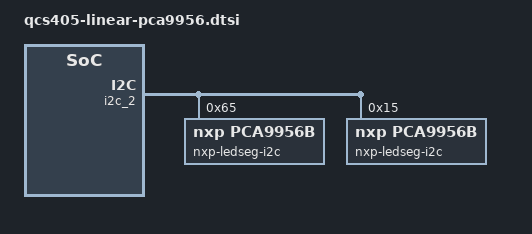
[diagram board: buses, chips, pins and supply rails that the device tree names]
/*
 * Copyright (c) 2018-2019, The Linux Foundation. All rights reserved.
 *
 * This program is free software; you can redistribute it and/or modify
 * it under the terms of the GNU General Public License version 2 and
 * only version 2 as published by the Free Software Foundation.
 *
 * This program is distributed in the hope that it will be useful,
 * but WITHOUT ANY WARRANTY; without even the implied warranty of
 * MERCHANTABILITY or FITNESS FOR A PARTICULAR PURPOSE.  See the
 * GNU General Public License for more details.
 */

&va_macro {
	qcom,va-dmic-sample-rate = <2400000>;
};

&i2c_2 {
	status = "ok";
	qcom,clk-freq-out = <100000>;

	/* PCA9956B LED Drivers */
	nxp-ledseg-i2c@65 {
		#address-cells = <1>;
		#size-cells = <0>;
		compatible = "nxp,pca9956b";
		reg = <0x65>;
		pca9956b,support_initialize = <1>;
		pca9956b,mode1 = <0x09>;
		pca9956b,mode2 = <0x05>;

		pca9956b,ledout0 = <0xAA>;
		pca9956b,ledout1 = <0xAA>;
		pca9956b,ledout2 = <0xAA>;
		pca9956b,ledout3 = <0xFF>;
		pca9956b,ledout4 = <0xFF>;
		pca9956b,ledout5 = <0xFF>;
		pca9956b,defaultiref = <0x2f>;
		out0@0 {
			label = "ledsec5_b";
			reg = <0x0>;
		};
		out1@1 {
			label = "ledsec5_g";
			reg = <0x1>;
		};
		out2@2 {
			label = "ledsec5_r";
			reg = <0x2>;
		};
		out3@3 {
			label = "ledsec6_b";
			reg = <0x3>;
		};
		out4@4 {
			label = "ledsec6_g";
			reg = <0x4>;
		};
		out5@5 {
			label = "ledsec6_r";
			reg = <0x5>;
		};
		out6@6 {
			label = "ledsec7_b";
			reg = <0x6>;
		};
		out7@7 {
			label = "ledsec7_g";
			reg = <0x7>;
		};
		out8@8 {
			label = "ledsec7_r";
			reg = <0x8>;
		};
		out9@9 {
			label = "ledsec8_b";
			reg = <0x9>;
		};
		out10@10 {
			label = "ledsec8_g";
			reg = <0xA>;
		};
		out11@11 {
			label = "ledsec8_r";
			reg = <0xB>;
		};
		out12@12 {
			label = "ledsec1_b";
			reg = <0xC>;
		};
		out13@13 {
			label = "ledsec1_g";
			reg = <0xD>;
		};
		out14@14 {
			label = "ledsec1_r";
			reg = <0xE>;
		};
		out15@15 {
			label = "ledsec2_b";
			reg = <0xF>;
		};
		out16@16 {
			label = "ledsec2_g";
			reg = <0x10>;
		};
		out17@17 {
			label = "ledsec2_r";
			reg = <0x11>;
		};
		out18@18 {
			label = "ledsec3_b";
			reg = <0x12>;
		};
		out19@19 {
			label = "ledsec3_g";
			reg = <0x13>;
		};
		out20@20 {
			label = "ledsec3_r";
			reg = <0x14>;
		};
		out21@21 {
			label = "ledsec4_b";
			reg = <0x15>;
		};
		out22@22 {
			label = "ledsec4_g";
			reg = <0x16>;
		};
		out23@23 {
			label = "ledsec4_r";
			reg = <0x17>;
		};
	};

	nxp-ledseg-i2c@15 {
		#address-cells = <1>;
		#size-cells = <0>;
		compatible = "nxp,pca9956b";
		reg = <0x15>;
		pca9956b,support_initialize = <1>;
		pca9956b,mode1 = <0x09>;
		pca9956b,mode2 = <0x05>;

		pca9956b,ledout0 = <0xAA>;
		pca9956b,ledout1 = <0xAA>;
		pca9956b,ledout2 = <0xAA>;
		pca9956b,ledout3 = <0xFF>;
		pca9956b,ledout4 = <0xFF>;
		pca9956b,ledout5 = <0xFF>;
		pca9956b,defaultiref = <0x2f>;
		out0@0 {
			label = "ledsec13_b";
			reg = <0x0>;
		};
		out1@1 {
			label = "ledsec13_g";
			reg = <0x1>;
		};
		out2@2 {
			label = "ledsec13_r";
			reg = <0x2>;
		};
		out3@3 {
			label = "ledsec14_b";
			reg = <0x3>;
		};
		out4@4 {
			label = "ledsec14_g";
			reg = <0x4>;
		};
		out5@5 {
			label = "ledsec14_r";
			reg = <0x5>;
		};
		out6@6 {
			label = "ledsec15_b";
			reg = <0x6>;
		};
		out7@7 {
			label = "ledsec15_g";
			reg = <0x7>;
		};
		out8@8 {
			label = "ledsec15_r";
			reg = <0x8>;
		};
		out9@9 {
			label = "ledsec16_b";
			reg = <0x9>;
		};
		out10@10 {
			label = "ledsec16_g";
			reg = <0xA>;
		};
		out11@11 {
			label = "ledsec16_r";
			reg = <0xB>;
		};
		out12@12 {
			label = "ledsec9_b";
			reg = <0xC>;
		};
		out13@13 {
			label = "ledsec9_g";
			reg = <0xD>;
		};
		out14@14 {
			label = "ledsec9_r";
			reg = <0xE>;
		};
		out15@15 {
			label = "ledsec10_b";
			reg = <0xF>;
		};
		out16@16 {
			label = "ledsec10_g";
			reg = <0x10>;
		};
		out17@17 {
			label = "ledsec10_r";
			reg = <0x11>;
		};
		out18@18 {
			label = "ledsec11_b";
			reg = <0x12>;
		};
		out19@19 {
			label = "ledsec11_g";
			reg = <0x13>;
		};
		out20@20 {
			label = "ledsec11_r";
			reg = <0x14>;
		};
		out21@21 {
			label = "ledsec12_b";
			reg = <0x15>;
		};
		out22@22 {
			label = "ledsec12_g";
			reg = <0x16>;
		};
		out23@23 {
			label = "ledsec12_r";
			reg = <0x17>;
		};
	};
};
